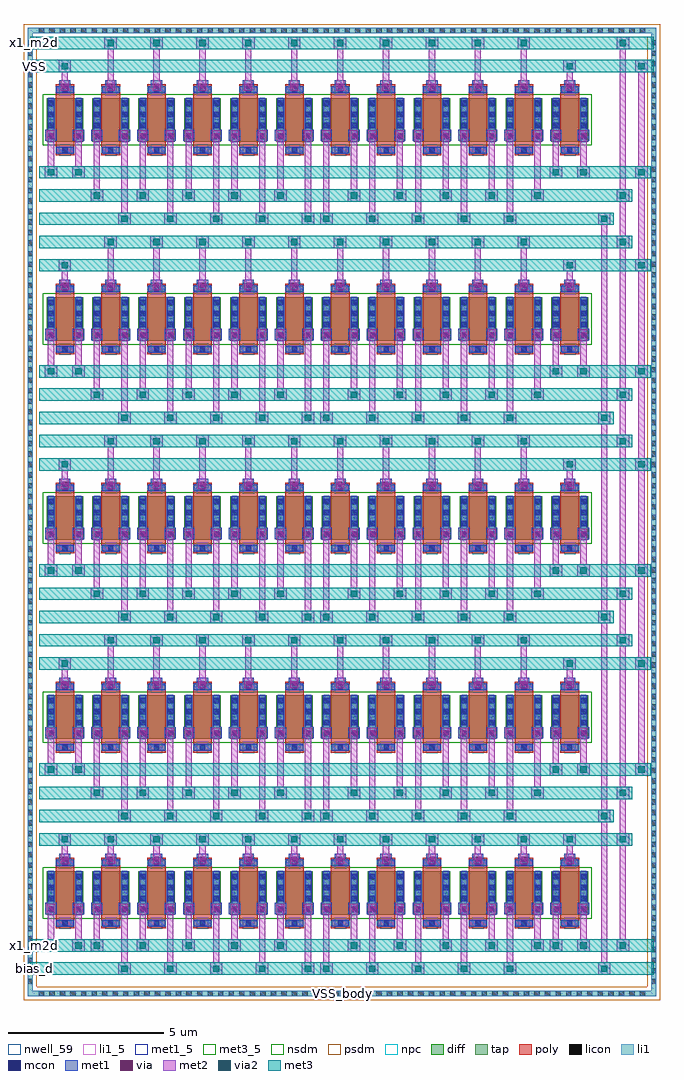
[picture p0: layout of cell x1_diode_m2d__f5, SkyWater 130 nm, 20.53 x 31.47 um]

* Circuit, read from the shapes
.subckt x1_diode_m2d__f5 VSS VSS_body bias_d x1_m2d
XM1 x1_m2d x1_m2d x1_m2d VSS_body sky130_fd_pr__nfet_01v8 w=1.4 l=0.6 m=2
XM2 VSS VSS VSS VSS_body sky130_fd_pr__nfet_01v8 w=1.4 l=0.6 m=8
XM3 bias_d x1_m2d x1_m2d VSS_body sky130_fd_pr__nfet_01v8 w=1.4 l=0.6 m=50
.ends

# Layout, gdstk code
from math import pi, radians
import gdstk
lib = gdstk.Library(unit=1e-6, precision=1e-09)
def R(c, l, rs):  # rectangles x0, y0, x1, y1
    for r in rs: c.add(gdstk.rectangle(r[:2], r[2:], *l))
def A(c, l, x, y, w, h, nx, ny, dx, dy):  # array of equal rectangles
    R(c, l, [(x+i*dx, y+j*dy, x+i*dx+w, y+j*dy+h) for i in range(nx) for j in range(ny)])
nwell_59 = (64, 59)
diff = (65, 20)
tap = (65, 44)
poly = (66, 20)
licon = (66, 44)
li1_5 = (67, 5)
li1 = (67, 20)
mcon = (67, 44)
met1_5 = (68, 5)
met1 = (68, 20)
via = (68, 44)
met2 = (69, 20)
via2 = (69, 44)
met3_5 = (70, 5)
met3 = (70, 20)
nsdm = (93, 44)
psdm = (94, 20)
npc = (95, 20)

sky130_fd_pr__nfet_01v8_ = lib.new_cell('sky130_fd_pr__nfet_01v8_KCM6UP')
R(sky130_fd_pr__nfet_01v8_, diff, [(-0.59,-0.7,0.59,0.7)])
R(sky130_fd_pr__nfet_01v8_, poly, [(-0.3,-1.14,0.3,1.14)])
A(sky130_fd_pr__nfet_01v8_, licon, -0.53, -0.595, 0.17, 0.17, 1, 4, 0, 0.34)
A(sky130_fd_pr__nfet_01v8_, licon, 0.36, -0.595, 0.17, 0.17, 1, 4, 0, 0.34)
R(sky130_fd_pr__nfet_01v8_, licon, [(-0.085,-1.06,0.085,-0.89), (-0.085,0.89,0.085,1.06)])
R(sky130_fd_pr__nfet_01v8_, li1, [(-0.3,-1.06,0.3,-0.89), (-0.53,-0.72,-0.36,0.72), (0.36,-0.72,0.53,0.72), (-0.3,0.89,0.3,1.06)])
A(sky130_fd_pr__nfet_01v8_, mcon, -0.53, -0.625, 0.17, 0.17, 1, 4, 0, 0.36)
A(sky130_fd_pr__nfet_01v8_, mcon, 0.36, -0.625, 0.17, 0.17, 1, 4, 0, 0.36)
R(sky130_fd_pr__nfet_01v8_, mcon, [(-0.085,-1.06,0.085,-0.89), (-0.085,0.89,0.085,1.06)])
R(sky130_fd_pr__nfet_01v8_, met1, [(-0.28,-1.09,0.28,-0.86), (-0.56,-0.7,-0.33,0.7), (0.33,-0.7,0.56,0.7), (-0.28,0.86,0.28,1.09)])
R(sky130_fd_pr__nfet_01v8_, nsdm, [(-0.715,-0.825,0.715,0.825)])
R(sky130_fd_pr__nfet_01v8_, npc, [(-0.185,-1.16,0.185,-0.79), (-0.185,0.79,0.185,1.16)])
sky130_fd_pr__nfet_01v8_.add(gdstk.Label('D', (-0.445,0), layer=67, texttype=5))
sky130_fd_pr__nfet_01v8_.add(gdstk.Label('S', (0.445,0), layer=67, texttype=5))
sky130_fd_pr__nfet_01v8_.add(gdstk.Label('G', (0,0.975), layer=67, texttype=5))

nfet_01v8_w1p4_l0p6_m2__ = lib.new_cell('nfet_01v8_W1p4_L0p6_m2__nf1_gboth_sdfull_ng')
R(nfet_01v8_w1p4_l0p6_m2__, nwell_59, [(0.05,1.09,0.15,1.19)])
R(nfet_01v8_w1p4_l0p6_m2__, met1_5, [(0.03,1.14,0.26,1.34), (0.92,1.14,1.15,1.34), (0.31,2,0.87,2.23)])
R(nfet_01v8_w1p4_l0p6_m2__, met1, [(0.03,1.14,0.26,1.34), (0.92,1.14,1.15,1.34), (0.31,2,0.87,2.23)])
nfet_01v8_w1p4_l0p6_m2__.add(gdstk.Reference(sky130_fd_pr__nfet_01v8_, (0.59,1.14)))
nfet_01v8_w1p4_l0p6_m2__.add(gdstk.Label('D', (0.145,1.24), layer=68, texttype=5))
nfet_01v8_w1p4_l0p6_m2__.add(gdstk.Label('S', (1.035,1.24), layer=68, texttype=5))
nfet_01v8_w1p4_l0p6_m2__.add(gdstk.Label('G', (0.59,2.115), layer=68, texttype=5))
nfet_01v8_w1p4_l0p6_m2__.add(gdstk.Label('B', (0.1,1.14), layer=64, texttype=59))

nfet_01v8_w1p4_l0p6_m50_ = lib.new_cell('nfet_01v8_W1p4_L0p6_m50__nf1_gboth_sdfull_ng')
R(nfet_01v8_w1p4_l0p6_m50_, nwell_59, [(0.05,1.09,0.15,1.19)])
R(nfet_01v8_w1p4_l0p6_m50_, met1_5, [(0.03,1.14,0.26,1.34), (0.92,1.14,1.15,1.34), (0.31,2,0.87,2.23)])
R(nfet_01v8_w1p4_l0p6_m50_, met1, [(0.03,1.14,0.26,1.34), (0.92,1.14,1.15,1.34), (0.31,2,0.87,2.23)])
nfet_01v8_w1p4_l0p6_m50_.add(gdstk.Reference(sky130_fd_pr__nfet_01v8_, (0.59,1.14)))
nfet_01v8_w1p4_l0p6_m50_.add(gdstk.Label('D', (0.145,1.24), layer=68, texttype=5))
nfet_01v8_w1p4_l0p6_m50_.add(gdstk.Label('S', (1.035,1.24), layer=68, texttype=5))
nfet_01v8_w1p4_l0p6_m50_.add(gdstk.Label('G', (0.59,2.115), layer=68, texttype=5))
nfet_01v8_w1p4_l0p6_m50_.add(gdstk.Label('B', (0.1,1.14), layer=64, texttype=59))

x1_diode_m2d__f5 = lib.new_cell('x1_diode_m2d__f5')
R(x1_diode_m2d__f5, tap, [(-0.485,-2.185,19.795,-2.015), (-0.485,-2.015,-0.315,28.865), (19.625,-2.015,19.795,28.865), (-0.485,28.865,19.795,29.035)])
A(x1_diode_m2d__f5, licon, -0.12, -2.185, 0.17, 0.17, 58, 2, 0.34, 31.05)
A(x1_diode_m2d__f5, licon, -0.485, -1.79, 0.17, 0.17, 1, 90, 0, 0.34)
A(x1_diode_m2d__f5, licon, 19.625, -1.79, 0.17, 0.17, 1, 90, 0, 0.34)
R(x1_diode_m2d__f5, li1_5, [(9.605,-2.15,9.705,-2.05)])
R(x1_diode_m2d__f5, li1, [(-0.485,-2.185,19.795,-2.015), (-0.485,-2.015,-0.315,28.865), (19.625,-2.015,19.795,28.865), (-0.485,28.865,19.795,29.035)])
A(x1_diode_m2d__f5, met1, 0.535, 2.05, 0.36, 0.36, 12, 2, 1.48, 5.67)
A(x1_diode_m2d__f5, met1, 0.09, 6.13, 0.36, 0.36, 1, 4, 0, 6.42)
A(x1_diode_m2d__f5, met1, 0.98, 6.13, 0.36, 0.36, 1, 4, 0, 6.42)
A(x1_diode_m2d__f5, met1, 1.57, 6.13, 0.36, 0.36, 1, 4, 0, 6.42)
A(x1_diode_m2d__f5, met1, 2.46, 6.13, 0.36, 0.36, 1, 4, 0, 6.42)
A(x1_diode_m2d__f5, met1, 3.05, 6.13, 0.36, 0.36, 1, 4, 0, 6.42)
A(x1_diode_m2d__f5, met1, 3.94, 6.13, 0.36, 0.36, 1, 4, 0, 6.42)
A(x1_diode_m2d__f5, met1, 4.53, 6.13, 0.36, 0.36, 1, 4, 0, 6.42)
A(x1_diode_m2d__f5, met1, 5.42, 6.13, 0.36, 0.36, 1, 4, 0, 6.42)
A(x1_diode_m2d__f5, met1, 6.01, 6.13, 0.36, 0.36, 1, 4, 0, 6.42)
A(x1_diode_m2d__f5, met1, 6.9, 6.13, 0.36, 0.36, 1, 4, 0, 6.42)
A(x1_diode_m2d__f5, met1, 7.49, 6.13, 0.36, 0.36, 1, 4, 0, 6.42)
A(x1_diode_m2d__f5, met1, 8.38, 6.13, 0.36, 0.36, 1, 4, 0, 6.42)
A(x1_diode_m2d__f5, met1, 8.97, 6.13, 0.36, 0.36, 1, 4, 0, 6.42)
A(x1_diode_m2d__f5, met1, 9.86, 6.13, 0.36, 0.36, 1, 4, 0, 6.42)
A(x1_diode_m2d__f5, met1, 10.45, 6.13, 0.36, 0.36, 1, 4, 0, 6.42)
A(x1_diode_m2d__f5, met1, 11.34, 6.13, 0.36, 0.36, 1, 4, 0, 6.42)
A(x1_diode_m2d__f5, met1, 11.93, 6.13, 0.36, 0.36, 1, 4, 0, 6.42)
A(x1_diode_m2d__f5, met1, 12.82, 6.13, 0.36, 0.36, 1, 4, 0, 6.42)
A(x1_diode_m2d__f5, met1, 13.41, 6.13, 0.36, 0.36, 1, 4, 0, 6.42)
A(x1_diode_m2d__f5, met1, 14.3, 6.13, 0.36, 0.36, 1, 4, 0, 6.42)
A(x1_diode_m2d__f5, met1, 14.89, 6.13, 0.36, 0.36, 1, 4, 0, 6.42)
A(x1_diode_m2d__f5, met1, 15.78, 6.13, 0.36, 0.36, 1, 4, 0, 6.42)
A(x1_diode_m2d__f5, met1, 16.37, 6.13, 0.36, 0.36, 1, 4, 0, 6.42)
A(x1_diode_m2d__f5, met1, 17.26, 6.13, 0.36, 0.36, 1, 4, 0, 6.42)
A(x1_diode_m2d__f5, met1, 0.535, 14.14, 0.36, 0.36, 12, 3, 1.48, 6.42)
R(x1_diode_m2d__f5, met1, [(0.09,0.46,0.45,0.82), (0.98,0.46,1.34,0.82), (1.57,0.46,1.93,0.82), (2.46,0.46,2.82,0.82), (3.05,0.46,3.41,0.82), (3.94,0.46,4.3,0.82), (4.53,0.46,4.89,0.82), (5.42,0.46,5.78,0.82), (6.01,0.46,6.37,0.82), (6.9,0.46,7.26,0.82), (7.49,0.46,7.85,0.82), (8.38,0.46,8.74,0.82), (8.97,0.46,9.33,0.82), (9.86,0.46,10.22,0.82), (10.45,0.46,10.81,0.82), (11.34,0.46,11.7,0.82), (11.93,0.46,12.29,0.82), (12.82,0.46,13.18,0.82), (13.41,0.46,13.77,0.82), (14.3,0.46,14.66,0.82), (14.89,0.46,15.25,0.82), (15.78,0.46,16.14,0.82), (16.37,0.46,16.73,0.82), (17.26,0.46,17.62,0.82)])
A(x1_diode_m2d__f5, via, 0.64, 2.155, 0.15, 0.15, 12, 2, 1.48, 5.67)
A(x1_diode_m2d__f5, via, 0.195, 6.235, 0.15, 0.15, 1, 4, 0, 6.42)
A(x1_diode_m2d__f5, via, 1.085, 6.235, 0.15, 0.15, 1, 4, 0, 6.42)
A(x1_diode_m2d__f5, via, 1.675, 6.235, 0.15, 0.15, 1, 4, 0, 6.42)
A(x1_diode_m2d__f5, via, 2.565, 6.235, 0.15, 0.15, 1, 4, 0, 6.42)
A(x1_diode_m2d__f5, via, 3.155, 6.235, 0.15, 0.15, 1, 4, 0, 6.42)
A(x1_diode_m2d__f5, via, 4.045, 6.235, 0.15, 0.15, 1, 4, 0, 6.42)
A(x1_diode_m2d__f5, via, 4.635, 6.235, 0.15, 0.15, 1, 4, 0, 6.42)
A(x1_diode_m2d__f5, via, 5.525, 6.235, 0.15, 0.15, 1, 4, 0, 6.42)
A(x1_diode_m2d__f5, via, 6.115, 6.235, 0.15, 0.15, 1, 4, 0, 6.42)
A(x1_diode_m2d__f5, via, 7.005, 6.235, 0.15, 0.15, 1, 4, 0, 6.42)
A(x1_diode_m2d__f5, via, 7.595, 6.235, 0.15, 0.15, 1, 4, 0, 6.42)
A(x1_diode_m2d__f5, via, 8.485, 6.235, 0.15, 0.15, 1, 4, 0, 6.42)
A(x1_diode_m2d__f5, via, 9.075, 6.235, 0.15, 0.15, 1, 4, 0, 6.42)
A(x1_diode_m2d__f5, via, 9.965, 6.235, 0.15, 0.15, 1, 4, 0, 6.42)
A(x1_diode_m2d__f5, via, 10.555, 6.235, 0.15, 0.15, 1, 4, 0, 6.42)
A(x1_diode_m2d__f5, via, 11.445, 6.235, 0.15, 0.15, 1, 4, 0, 6.42)
A(x1_diode_m2d__f5, via, 12.035, 6.235, 0.15, 0.15, 1, 4, 0, 6.42)
A(x1_diode_m2d__f5, via, 12.925, 6.235, 0.15, 0.15, 1, 4, 0, 6.42)
A(x1_diode_m2d__f5, via, 13.515, 6.235, 0.15, 0.15, 1, 4, 0, 6.42)
A(x1_diode_m2d__f5, via, 14.405, 6.235, 0.15, 0.15, 1, 4, 0, 6.42)
A(x1_diode_m2d__f5, via, 14.995, 6.235, 0.15, 0.15, 1, 4, 0, 6.42)
A(x1_diode_m2d__f5, via, 15.885, 6.235, 0.15, 0.15, 1, 4, 0, 6.42)
A(x1_diode_m2d__f5, via, 16.475, 6.235, 0.15, 0.15, 1, 4, 0, 6.42)
A(x1_diode_m2d__f5, via, 17.365, 6.235, 0.15, 0.15, 1, 4, 0, 6.42)
A(x1_diode_m2d__f5, via, 0.64, 14.245, 0.15, 0.15, 12, 3, 1.48, 6.42)
R(x1_diode_m2d__f5, via, [(0.195,0.565,0.345,0.715), (1.085,0.565,1.235,0.715), (1.675,0.565,1.825,0.715), (2.565,0.565,2.715,0.715), (3.155,0.565,3.305,0.715), (4.045,0.565,4.195,0.715), (4.635,0.565,4.785,0.715), (5.525,0.565,5.675,0.715), (6.115,0.565,6.265,0.715), (7.005,0.565,7.155,0.715), (7.595,0.565,7.745,0.715), (8.485,0.565,8.635,0.715), (9.075,0.565,9.225,0.715), (9.965,0.565,10.115,0.715), (10.555,0.565,10.705,0.715), (11.445,0.565,11.595,0.715), (12.035,0.565,12.185,0.715), (12.925,0.565,13.075,0.715), (13.515,0.565,13.665,0.715), (14.405,0.565,14.555,0.715), (14.995,0.565,15.145,0.715), (15.885,0.565,16.035,0.715), (16.475,0.565,16.625,0.715), (17.365,0.565,17.515,0.715)])
A(x1_diode_m2d__f5, met2, 2.44, -1.5, 0.4, 0.4, 5, 2, 1.48, 4.92)
A(x1_diode_m2d__f5, met2, 8.95, -1.5, 0.4, 0.4, 5, 2, 1.48, 4.92)
A(x1_diode_m2d__f5, met2, 2.54, -1.1, 0.2, 1.58, 5, 1, 1.48, 0)
A(x1_diode_m2d__f5, met2, 9.05, -1.1, 0.2, 1.58, 5, 1, 1.48, 0)
A(x1_diode_m2d__f5, met2, 1.55, -0.75, 0.4, 0.4, 5, 2, 1.48, 4.92)
A(x1_diode_m2d__f5, met2, 9.84, -0.75, 0.4, 0.4, 5, 2, 1.48, 4.92)
A(x1_diode_m2d__f5, met2, 1.65, -0.35, 0.2, 0.83, 5, 1, 1.48, 0)
A(x1_diode_m2d__f5, met2, 9.94, -0.35, 0.2, 0.83, 5, 1, 1.48, 0)
A(x1_diode_m2d__f5, met2, 0.585, 2.07, 0.26, 0.32, 12, 2, 1.48, 5.67)
A(x1_diode_m2d__f5, met2, 0.615, 2.39, 0.2, 0.28, 12, 1, 1.48, 0)
A(x1_diode_m2d__f5, met2, 0.515, 2.67, 0.4, 0.4, 12, 1, 1.48, 0)
A(x1_diode_m2d__f5, met2, 18.61, 3.07, 0.2, 1.1, 1, 4, 0, 6.42)
A(x1_diode_m2d__f5, met2, 17.91, 3.42, 0.4, 0.4, 1, 4, 0, 6.42)
A(x1_diode_m2d__f5, met2, 2.54, 3.82, 0.2, 2.33, 5, 4, 1.48, 6.42)
A(x1_diode_m2d__f5, met2, 9.05, 3.82, 0.2, 2.33, 5, 4, 1.48, 6.42)
A(x1_diode_m2d__f5, met2, 18.01, 3.82, 0.2, 6.02, 1, 3, 0, 6.42)
A(x1_diode_m2d__f5, met2, 1.65, 4.57, 0.2, 1.58, 5, 4, 1.48, 6.42)
A(x1_diode_m2d__f5, met2, 9.94, 4.57, 0.2, 1.58, 5, 4, 1.48, 6.42)
A(x1_diode_m2d__f5, met2, 18.61, 4.57, 0.2, 4.52, 1, 4, 0, 6.42)
A(x1_diode_m2d__f5, met2, 0.07, 4.92, 0.4, 0.4, 1, 4, 0, 6.42)
A(x1_diode_m2d__f5, met2, 0.96, 4.92, 0.4, 0.4, 1, 4, 0, 6.42)
A(x1_diode_m2d__f5, met2, 16.35, 4.92, 0.4, 0.4, 1, 4, 0, 6.42)
A(x1_diode_m2d__f5, met2, 17.24, 4.92, 0.4, 0.4, 1, 4, 0, 6.42)
A(x1_diode_m2d__f5, met2, 0.17, 5.32, 0.2, 0.83, 1, 4, 0, 6.42)
A(x1_diode_m2d__f5, met2, 1.06, 5.32, 0.2, 0.83, 1, 4, 0, 6.42)
A(x1_diode_m2d__f5, met2, 16.45, 5.32, 0.2, 0.83, 1, 4, 0, 6.42)
A(x1_diode_m2d__f5, met2, 17.34, 5.32, 0.2, 0.83, 1, 4, 0, 6.42)
A(x1_diode_m2d__f5, met2, 19.21, 5.32, 0.2, 3.02, 1, 4, 0, 6.42)
A(x1_diode_m2d__f5, met2, 0.14, 6.15, 0.26, 0.32, 1, 4, 0, 6.42)
A(x1_diode_m2d__f5, met2, 1.03, 6.15, 0.26, 0.32, 1, 4, 0, 6.42)
A(x1_diode_m2d__f5, met2, 1.62, 6.15, 0.26, 0.32, 1, 4, 0, 6.42)
A(x1_diode_m2d__f5, met2, 2.51, 6.15, 0.26, 0.32, 1, 4, 0, 6.42)
A(x1_diode_m2d__f5, met2, 3.1, 6.15, 0.26, 0.32, 1, 4, 0, 6.42)
A(x1_diode_m2d__f5, met2, 3.99, 6.15, 0.26, 0.32, 1, 4, 0, 6.42)
A(x1_diode_m2d__f5, met2, 4.58, 6.15, 0.26, 0.32, 1, 4, 0, 6.42)
A(x1_diode_m2d__f5, met2, 5.47, 6.15, 0.26, 0.32, 1, 4, 0, 6.42)
A(x1_diode_m2d__f5, met2, 6.06, 6.15, 0.26, 0.32, 1, 4, 0, 6.42)
A(x1_diode_m2d__f5, met2, 6.95, 6.15, 0.26, 0.32, 1, 4, 0, 6.42)
A(x1_diode_m2d__f5, met2, 7.54, 6.15, 0.26, 0.32, 1, 4, 0, 6.42)
A(x1_diode_m2d__f5, met2, 8.43, 6.15, 0.26, 0.32, 1, 4, 0, 6.42)
A(x1_diode_m2d__f5, met2, 9.02, 6.15, 0.26, 0.32, 1, 4, 0, 6.42)
A(x1_diode_m2d__f5, met2, 9.91, 6.15, 0.26, 0.32, 1, 4, 0, 6.42)
A(x1_diode_m2d__f5, met2, 10.5, 6.15, 0.26, 0.32, 1, 4, 0, 6.42)
A(x1_diode_m2d__f5, met2, 11.39, 6.15, 0.26, 0.32, 1, 4, 0, 6.42)
A(x1_diode_m2d__f5, met2, 11.98, 6.15, 0.26, 0.32, 1, 4, 0, 6.42)
A(x1_diode_m2d__f5, met2, 12.87, 6.15, 0.26, 0.32, 1, 4, 0, 6.42)
A(x1_diode_m2d__f5, met2, 13.46, 6.15, 0.26, 0.32, 1, 4, 0, 6.42)
A(x1_diode_m2d__f5, met2, 14.35, 6.15, 0.26, 0.32, 1, 4, 0, 6.42)
A(x1_diode_m2d__f5, met2, 14.94, 6.15, 0.26, 0.32, 1, 4, 0, 6.42)
A(x1_diode_m2d__f5, met2, 15.83, 6.15, 0.26, 0.32, 1, 4, 0, 6.42)
A(x1_diode_m2d__f5, met2, 16.42, 6.15, 0.26, 0.32, 1, 4, 0, 6.42)
A(x1_diode_m2d__f5, met2, 17.31, 6.15, 0.26, 0.32, 1, 4, 0, 6.42)
A(x1_diode_m2d__f5, met2, 0.615, 8.06, 0.2, 0.28, 1, 4, 0, 6.42)
A(x1_diode_m2d__f5, met2, 2.095, 8.06, 0.2, 1.03, 10, 4, 1.48, 6.42)
A(x1_diode_m2d__f5, met2, 16.895, 8.06, 0.2, 0.28, 1, 4, 0, 6.42)
A(x1_diode_m2d__f5, met2, 0.515, 8.34, 0.4, 0.4, 1, 4, 0, 6.42)
A(x1_diode_m2d__f5, met2, 16.795, 8.34, 0.4, 0.4, 1, 4, 0, 6.42)
A(x1_diode_m2d__f5, met2, 19.21, 8.74, 0.2, 2.6, 1, 3, 0, 6.42)
A(x1_diode_m2d__f5, met2, 1.995, 9.09, 0.4, 0.4, 10, 4, 1.48, 6.42)
A(x1_diode_m2d__f5, met2, 2.44, 9.84, 0.4, 0.4, 5, 3, 1.48, 6.42)
A(x1_diode_m2d__f5, met2, 8.95, 9.84, 0.4, 0.4, 5, 3, 1.48, 6.42)
A(x1_diode_m2d__f5, met2, 1.55, 10.59, 0.4, 0.4, 5, 3, 1.48, 6.42)
A(x1_diode_m2d__f5, met2, 9.84, 10.59, 0.4, 0.4, 5, 3, 1.48, 6.42)
A(x1_diode_m2d__f5, met2, 0.585, 14.16, 0.26, 0.32, 12, 3, 1.48, 6.42)
R(x1_diode_m2d__f5, met2, [(17.91,-1.5,18.31,-1.1), (18.01,-1.1,18.21,3.42), (0.07,-0.75,0.47,-0.35), (0.96,-0.75,1.36,-0.35), (16.35,-0.75,16.75,-0.35), (17.24,-0.75,17.64,-0.35), (18.51,-0.75,18.91,-0.35), (0.17,-0.35,0.37,0.48), (1.06,-0.35,1.26,0.48), (16.45,-0.35,16.65,0.48), (17.34,-0.35,17.54,0.48), (18.61,-0.35,18.81,2.67), (0.14,0.48,0.4,0.8), (1.03,0.48,1.29,0.8), (1.62,0.48,1.88,0.8), (2.51,0.48,2.77,0.8), (3.1,0.48,3.36,0.8), (3.99,0.48,4.25,0.8), (4.58,0.48,4.84,0.8), (5.47,0.48,5.73,0.8), (6.06,0.48,6.32,0.8), (6.95,0.48,7.21,0.8), (7.54,0.48,7.8,0.8), (8.43,0.48,8.69,0.8), (9.02,0.48,9.28,0.8), (9.91,0.48,10.17,0.8), (10.5,0.48,10.76,0.8), (11.39,0.48,11.65,0.8), (11.98,0.48,12.24,0.8), (12.87,0.48,13.13,0.8), (13.46,0.48,13.72,0.8), (14.35,0.48,14.61,0.8), (14.94,0.48,15.2,0.8), (15.83,0.48,16.09,0.8), (16.42,0.48,16.68,0.8), (17.31,0.48,17.57,0.8), (18.51,2.67,18.91,3.07), (18.51,4.17,18.91,4.57), (19.11,4.92,19.51,5.32), (19.11,8.34,19.51,8.74), (18.51,9.09,18.91,9.49), (18.51,10.59,18.91,10.99), (19.11,11.34,19.51,11.74), (19.11,14.76,19.51,15.16), (18.51,15.51,18.91,15.91), (18.51,17.01,18.91,17.41), (19.11,17.76,19.51,18.16), (19.11,21.18,19.51,21.58), (18.51,21.93,18.91,22.33), (18.51,23.43,18.91,23.83), (19.11,24.18,19.51,24.58), (19.11,27.6,19.51,28), (18.51,28.35,18.91,28.75)])
A(x1_diode_m2d__f5, via2, 2.54, -1.4, 0.2, 0.2, 5, 2, 1.48, 4.92)
A(x1_diode_m2d__f5, via2, 9.05, -1.4, 0.2, 0.2, 5, 2, 1.48, 4.92)
A(x1_diode_m2d__f5, via2, 1.65, -0.65, 0.2, 0.2, 5, 2, 1.48, 4.92)
A(x1_diode_m2d__f5, via2, 9.94, -0.65, 0.2, 0.2, 5, 2, 1.48, 4.92)
A(x1_diode_m2d__f5, via2, 0.615, 2.77, 0.2, 0.2, 12, 1, 1.48, 0)
A(x1_diode_m2d__f5, via2, 18.01, 3.52, 0.2, 0.2, 1, 4, 0, 6.42)
A(x1_diode_m2d__f5, via2, 0.17, 5.02, 0.2, 0.2, 1, 4, 0, 6.42)
A(x1_diode_m2d__f5, via2, 1.06, 5.02, 0.2, 0.2, 1, 4, 0, 6.42)
A(x1_diode_m2d__f5, via2, 16.45, 5.02, 0.2, 0.2, 1, 4, 0, 6.42)
A(x1_diode_m2d__f5, via2, 17.34, 5.02, 0.2, 0.2, 1, 4, 0, 6.42)
A(x1_diode_m2d__f5, via2, 0.615, 8.44, 0.2, 0.2, 1, 4, 0, 6.42)
A(x1_diode_m2d__f5, via2, 16.895, 8.44, 0.2, 0.2, 1, 4, 0, 6.42)
A(x1_diode_m2d__f5, via2, 2.095, 9.19, 0.2, 0.2, 10, 4, 1.48, 6.42)
A(x1_diode_m2d__f5, via2, 2.54, 9.94, 0.2, 0.2, 5, 3, 1.48, 6.42)
A(x1_diode_m2d__f5, via2, 9.05, 9.94, 0.2, 0.2, 5, 3, 1.48, 6.42)
A(x1_diode_m2d__f5, via2, 1.65, 10.69, 0.2, 0.2, 5, 3, 1.48, 6.42)
A(x1_diode_m2d__f5, via2, 9.94, 10.69, 0.2, 0.2, 5, 3, 1.48, 6.42)
R(x1_diode_m2d__f5, via2, [(18.01,-1.4,18.21,-1.2), (0.17,-0.65,0.37,-0.45), (1.06,-0.65,1.26,-0.45), (16.45,-0.65,16.65,-0.45), (17.34,-0.65,17.54,-0.45), (18.61,-0.65,18.81,-0.45), (18.61,2.77,18.81,2.97), (18.61,4.27,18.81,4.47), (19.21,5.02,19.41,5.22), (19.21,8.44,19.41,8.64), (18.61,9.19,18.81,9.39), (18.61,10.69,18.81,10.89), (19.21,11.44,19.41,11.64), (19.21,14.86,19.41,15.06), (18.61,15.61,18.81,15.81), (18.61,17.11,18.81,17.31), (19.21,17.86,19.41,18.06), (19.21,21.28,19.41,21.48), (18.61,22.03,18.81,22.23), (18.61,23.53,18.81,23.73), (19.21,24.28,19.41,24.48), (19.21,27.7,19.41,27.9), (18.61,28.45,18.81,28.65)])
R(x1_diode_m2d__f5, met3_5, [(-0.3,-1.35,-0.2,-1.25), (-0.3,-0.6,-0.2,-0.5), (-0.3,27.75,-0.2,27.85), (-0.3,28.5,-0.2,28.6)])
A(x1_diode_m2d__f5, met3, -0.1, 3.42, 18.51, 0.4, 1, 4, 0, 6.42)
R(x1_diode_m2d__f5, met3, [(-0.4,-1.5,19.71,-1.1), (-0.4,-0.75,19.71,-0.35), (-0.1,2.67,19.01,3.07), (-0.1,4.17,19.01,4.57), (-0.1,4.92,19.61,5.32), (-0.1,8.34,19.61,8.74), (-0.1,9.09,19.01,9.49), (-0.1,10.59,19.01,10.99), (-0.1,11.34,19.61,11.74), (-0.1,14.76,19.61,15.16), (-0.1,15.51,19.01,15.91), (-0.1,17.01,19.01,17.41), (-0.1,17.76,19.61,18.16), (-0.1,21.18,19.61,21.58), (-0.1,21.93,19.01,22.33), (-0.1,23.43,19.01,23.83), (-0.1,24.18,19.61,24.58), (-0.4,27.6,19.71,28), (-0.4,28.35,19.71,28.75)])
A(x1_diode_m2d__f5, nsdm, 1.435, 0.315, 0.05, 1.65, 11, 2, 1.48, 5.67)
A(x1_diode_m2d__f5, nsdm, 1.435, 12.405, 0.05, 1.65, 11, 3, 1.48, 6.42)
R(x1_diode_m2d__f5, psdm, [(-0.61,-2.31,19.92,-1.89), (-0.61,-1.89,-0.19,28.74), (19.5,-1.89,19.92,28.74), (-0.61,28.74,19.92,29.16)])
x1_diode_m2d__f5.add(gdstk.Reference(nfet_01v8_w1p4_l0p6_m2__, (16.41,0)))
x1_diode_m2d__f5.add(gdstk.Reference(nfet_01v8_w1p4_l0p6_m2__, (0.13,0)))
x1_diode_m2d__f5.add(gdstk.Reference(nfet_01v8_w1p4_l0p6_m50_, (1.61,0)))
x1_diode_m2d__f5.add(gdstk.Reference(nfet_01v8_w1p4_l0p6_m50_, (3.09,0)))
x1_diode_m2d__f5.add(gdstk.Reference(nfet_01v8_w1p4_l0p6_m50_, (4.57,0)))
x1_diode_m2d__f5.add(gdstk.Reference(nfet_01v8_w1p4_l0p6_m50_, (6.05,0)))
x1_diode_m2d__f5.add(gdstk.Reference(nfet_01v8_w1p4_l0p6_m50_, (7.53,0)))
x1_diode_m2d__f5.add(gdstk.Reference(nfet_01v8_w1p4_l0p6_m50_, (10.19,0), rotation=pi, x_reflection=True))
x1_diode_m2d__f5.add(gdstk.Reference(nfet_01v8_w1p4_l0p6_m50_, (11.67,0), rotation=pi, x_reflection=True))
x1_diode_m2d__f5.add(gdstk.Reference(nfet_01v8_w1p4_l0p6_m50_, (13.15,0), rotation=pi, x_reflection=True))
x1_diode_m2d__f5.add(gdstk.Reference(nfet_01v8_w1p4_l0p6_m50_, (14.63,0), rotation=pi, x_reflection=True))
x1_diode_m2d__f5.add(gdstk.Reference(nfet_01v8_w1p4_l0p6_m50_, (16.11,0), rotation=pi, x_reflection=True))
x1_diode_m2d__f5.add(gdstk.Reference(nfet_01v8_w1p4_l0p6_m50_, (0.13,5.67)))
x1_diode_m2d__f5.add(gdstk.Reference(nfet_01v8_w1p4_l0p6_m50_, (1.61,5.67)))
x1_diode_m2d__f5.add(gdstk.Reference(nfet_01v8_w1p4_l0p6_m50_, (3.09,5.67)))
x1_diode_m2d__f5.add(gdstk.Reference(nfet_01v8_w1p4_l0p6_m50_, (4.57,5.67)))
x1_diode_m2d__f5.add(gdstk.Reference(nfet_01v8_w1p4_l0p6_m50_, (6.05,5.67)))
x1_diode_m2d__f5.add(gdstk.Reference(nfet_01v8_w1p4_l0p6_m50_, (7.53,5.67)))
x1_diode_m2d__f5.add(gdstk.Reference(nfet_01v8_w1p4_l0p6_m50_, (10.19,5.67), rotation=pi, x_reflection=True))
x1_diode_m2d__f5.add(gdstk.Reference(nfet_01v8_w1p4_l0p6_m50_, (11.67,5.67), rotation=pi, x_reflection=True))
x1_diode_m2d__f5.add(gdstk.Reference(nfet_01v8_w1p4_l0p6_m50_, (13.15,5.67), rotation=pi, x_reflection=True))
x1_diode_m2d__f5.add(gdstk.Reference(nfet_01v8_w1p4_l0p6_m50_, (14.63,5.67), rotation=pi, x_reflection=True))
x1_diode_m2d__f5.add(gdstk.Reference(nfet_01v8_w1p4_l0p6_m50_, (16.11,5.67), rotation=pi, x_reflection=True))
x1_diode_m2d__f5.add(gdstk.Reference(nfet_01v8_w1p4_l0p6_m50_, (17.59,5.67), rotation=pi, x_reflection=True))
x1_diode_m2d__f5.add(gdstk.Reference(nfet_01v8_w1p4_l0p6_m50_, (0.13,12.09)))
x1_diode_m2d__f5.add(gdstk.Reference(nfet_01v8_w1p4_l0p6_m50_, (1.61,12.09)))
x1_diode_m2d__f5.add(gdstk.Reference(nfet_01v8_w1p4_l0p6_m50_, (3.09,12.09)))
x1_diode_m2d__f5.add(gdstk.Reference(nfet_01v8_w1p4_l0p6_m50_, (4.57,12.09)))
x1_diode_m2d__f5.add(gdstk.Reference(nfet_01v8_w1p4_l0p6_m50_, (6.05,12.09)))
x1_diode_m2d__f5.add(gdstk.Reference(nfet_01v8_w1p4_l0p6_m50_, (7.53,12.09)))
x1_diode_m2d__f5.add(gdstk.Reference(nfet_01v8_w1p4_l0p6_m50_, (10.19,12.09), rotation=pi, x_reflection=True))
x1_diode_m2d__f5.add(gdstk.Reference(nfet_01v8_w1p4_l0p6_m50_, (11.67,12.09), rotation=pi, x_reflection=True))
x1_diode_m2d__f5.add(gdstk.Reference(nfet_01v8_w1p4_l0p6_m50_, (13.15,12.09), rotation=pi, x_reflection=True))
x1_diode_m2d__f5.add(gdstk.Reference(nfet_01v8_w1p4_l0p6_m50_, (14.63,12.09), rotation=pi, x_reflection=True))
x1_diode_m2d__f5.add(gdstk.Reference(nfet_01v8_w1p4_l0p6_m50_, (16.11,12.09), rotation=pi, x_reflection=True))
x1_diode_m2d__f5.add(gdstk.Reference(nfet_01v8_w1p4_l0p6_m50_, (17.59,12.09), rotation=pi, x_reflection=True))
x1_diode_m2d__f5.add(gdstk.Reference(nfet_01v8_w1p4_l0p6_m50_, (0.13,18.51)))
x1_diode_m2d__f5.add(gdstk.Reference(nfet_01v8_w1p4_l0p6_m50_, (1.61,18.51)))
x1_diode_m2d__f5.add(gdstk.Reference(nfet_01v8_w1p4_l0p6_m50_, (3.09,18.51)))
x1_diode_m2d__f5.add(gdstk.Reference(nfet_01v8_w1p4_l0p6_m50_, (4.57,18.51)))
x1_diode_m2d__f5.add(gdstk.Reference(nfet_01v8_w1p4_l0p6_m50_, (6.05,18.51)))
x1_diode_m2d__f5.add(gdstk.Reference(nfet_01v8_w1p4_l0p6_m50_, (7.53,18.51)))
x1_diode_m2d__f5.add(gdstk.Reference(nfet_01v8_w1p4_l0p6_m50_, (10.19,18.51), rotation=pi, x_reflection=True))
x1_diode_m2d__f5.add(gdstk.Reference(nfet_01v8_w1p4_l0p6_m50_, (11.67,18.51), rotation=pi, x_reflection=True))
x1_diode_m2d__f5.add(gdstk.Reference(nfet_01v8_w1p4_l0p6_m50_, (13.15,18.51), rotation=pi, x_reflection=True))
x1_diode_m2d__f5.add(gdstk.Reference(nfet_01v8_w1p4_l0p6_m50_, (14.63,18.51), rotation=pi, x_reflection=True))
x1_diode_m2d__f5.add(gdstk.Reference(nfet_01v8_w1p4_l0p6_m50_, (16.11,18.51), rotation=pi, x_reflection=True))
x1_diode_m2d__f5.add(gdstk.Reference(nfet_01v8_w1p4_l0p6_m50_, (17.59,18.51), rotation=pi, x_reflection=True))
x1_diode_m2d__f5.add(gdstk.Reference(nfet_01v8_w1p4_l0p6_m50_, (0.13,24.93)))
x1_diode_m2d__f5.add(gdstk.Reference(nfet_01v8_w1p4_l0p6_m50_, (1.61,24.93)))
x1_diode_m2d__f5.add(gdstk.Reference(nfet_01v8_w1p4_l0p6_m50_, (3.09,24.93)))
x1_diode_m2d__f5.add(gdstk.Reference(nfet_01v8_w1p4_l0p6_m50_, (4.57,24.93)))
x1_diode_m2d__f5.add(gdstk.Reference(nfet_01v8_w1p4_l0p6_m50_, (6.05,24.93)))
x1_diode_m2d__f5.add(gdstk.Reference(nfet_01v8_w1p4_l0p6_m50_, (7.53,24.93)))
x1_diode_m2d__f5.add(gdstk.Reference(nfet_01v8_w1p4_l0p6_m50_, (10.19,24.93), rotation=pi, x_reflection=True))
x1_diode_m2d__f5.add(gdstk.Reference(nfet_01v8_w1p4_l0p6_m50_, (11.67,24.93), rotation=pi, x_reflection=True))
x1_diode_m2d__f5.add(gdstk.Reference(nfet_01v8_w1p4_l0p6_m50_, (13.15,24.93), rotation=pi, x_reflection=True))
x1_diode_m2d__f5.add(gdstk.Reference(nfet_01v8_w1p4_l0p6_m50_, (14.63,24.93), rotation=pi, x_reflection=True))
x1_diode_m2d__f5.add(gdstk.Reference(nfet_01v8_w1p4_l0p6_m50_, (16.11,24.93), rotation=pi, x_reflection=True))
x1_diode_m2d__f5.add(gdstk.Reference(nfet_01v8_w1p4_l0p6_m50_, (17.59,24.93), rotation=pi, x_reflection=True))
x1_diode_m2d__f5.add(gdstk.Label('VSS', (-0.25,27.8), layer=70, texttype=5))
x1_diode_m2d__f5.add(gdstk.Label('x1_m2d', (-0.25,28.55), layer=70, texttype=5))
x1_diode_m2d__f5.add(gdstk.Label('x1_m2d', (-0.25,-0.55), layer=70, texttype=5))
x1_diode_m2d__f5.add(gdstk.Label('bias_d', (-0.25,-1.3), layer=70, texttype=5))
x1_diode_m2d__f5.add(gdstk.Label('VSS_body', (9.655,-2.1), layer=67, texttype=5))

lib.write_gds('x1_diode_m2d__f5.gds')
